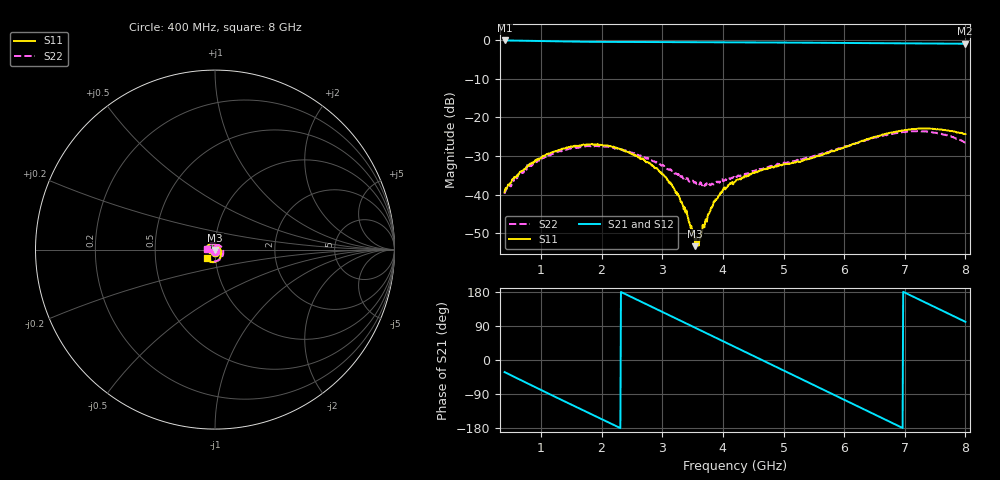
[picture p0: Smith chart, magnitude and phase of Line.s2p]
!Agilent Technologies,N5227A,US51270349,A.09.80.20
!Agilent N5227A: A.09.80.20
!Date: Wednesday, February 17, 2021 19:51:57
!Correction: S11(Full 2 Port(1,2))
!S21(Full 2 Port(1,2))
!S12(Full 2 Port(1,2))
!S22(Full 2 Port(1,2))
!S2P File: Measurements: S11, S21, S12, S22:
# Hz S  RI  R 50
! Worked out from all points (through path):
!   801 points, 400 MHz to 8 GHz, reference 50 ohm
!   highest |S21| = -0.06 dB at 400 MHz (marker M1); lowest = -0.9 dB at 7.99 GHz (marker M2)
!   group delay of S21, straight-line fit = 214 ps
!   lowest |S11| = -53.3 dB at 3.545 GHz (marker M3), VSWR 1.00, Z = 50.1 - j0.186 ohm
!   |S11| at or under -10 dB: start of sweep to end of sweep
!   |S22| runs from -39.8 to -23.5 dB; largest |S21 - S12| = 0.0024
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4e8  -0.00069 -0.0108  0.8421 -0.5257  0.8417 -0.5248  -0.00168 -0.0101
1.0365e9  -0.025 -0.02  0.1379 -0.9641  0.1373 -0.9637  -0.0253 -0.0171
1.3405e9  -0.0376 -0.0115  -0.2567 -0.9297  -0.2563 -0.929  -0.0362 -0.00689
1.673e9  -0.0427 0.00667  -0.6266 -0.7217  -0.6263 -0.7215  -0.0398 0.0108
1.996e9  -0.0356 0.0258  -0.8674 -0.392  -0.867 -0.3914  -0.0309 0.0283
2.3095e9  -0.0166 0.0348  -0.9495 -0.00359  -0.9487 -0.00351  -0.0152 0.0357
2.6135e9  0.000522 0.0306  -0.872 0.373  -0.8705 0.3735  -0.00123 0.0322
2.9365e9  0.0108 0.0177  -0.6317 0.7041  -0.6314 0.7039  0.00616 0.0247
3.2785e9  0.00872 0.00335  -0.2526 0.9097  -0.2518 0.9089  0.00621 0.0167
3.5445e9  0.0011 -0.00186  0.0825 0.939  0.0833 0.938  0.0036 0.0142
3.611e9  -0.000823 -0.00248  0.1664 0.9272  0.1668 0.9264  0.00287 0.0132
3.8865e9  -0.00852 0.00078  0.4902 0.802  0.4907 0.801  -6.02e-05 0.0144
4.2e9  -0.0106 0.0103  0.7743 0.5293  0.7744 0.5279  -0.000779 0.0173
4.504e9  -0.00347 0.0189  0.919 0.1759  0.9188 0.1749  -0.000832 0.0203
4.808e9  0.00913 0.0209  0.9106 -0.2042  0.9095 -0.2057  0.00217 0.023
5.473e9  0.0299 0.00167  0.4048 -0.8341  0.4036 -0.8343  0.0189 0.0242
6.0715e9  0.0341 -0.0257  -0.321 -0.8629  -0.3221 -0.8614  0.0428 0.00189
6.7365e9  0.0172 -0.0602  -0.8668 -0.2853  -0.8667 -0.2836  0.0293 -0.0525
7.3065e9  -0.0184 -0.0692  -0.8162 0.3938  -0.815 0.3949  -0.0267 -0.0605
7.6675e9  -0.0364 -0.0579  -0.5361 0.7266  -0.5344 0.7272  -0.0514 -0.0311
7.9905e9  -0.0418 -0.0442  -0.1797 0.8822  -0.1781 0.882  -0.0473 0.00328
8e9  -0.042 -0.0441  -0.1684 0.8845  -0.1668 0.884  -0.0472 0.00339
